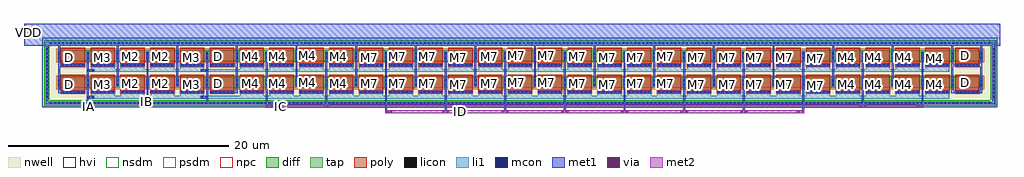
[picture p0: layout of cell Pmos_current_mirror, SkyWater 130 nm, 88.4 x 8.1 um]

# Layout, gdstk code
from math import pi, radians
import gdstk
lib = gdstk.Library(unit=1e-6, precision=1e-09)
def R(c, l, rs):  # rectangles x0, y0, x1, y1
    for r in rs: c.add(gdstk.rectangle(r[:2], r[2:], *l))
def A(c, l, x, y, w, h, nx, ny, dx, dy):  # array of equal rectangles
    R(c, l, [(x+i*dx, y+j*dy, x+i*dx+w, y+j*dy+h) for i in range(nx) for j in range(ny)])
def P(c, l, *ps):  # polygons
    for p in ps: c.add(gdstk.Polygon(p, *l))
nwell = (64, 20)
diff = (65, 20)
tap = (65, 44)
poly = (66, 20)
licon = (66, 44)
li1 = (67, 20)
mcon = (67, 44)
met1 = (68, 20)
via = (68, 44)
met2 = (69, 20)
hvi = (75, 20)
nsdm = (93, 44)
psdm = (94, 20)
npc = (95, 20)

vias_gen = lib.new_cell('vias_gen')
R(vias_gen, li1, [(0,0,0.66,0.26)])
R(vias_gen, mcon, [(0.065,0.045,0.235,0.215), (0.425,0.045,0.595,0.215)])
R(vias_gen, met1, [(0,0,0.66,0.26)])

pfet = lib.new_cell('pfet')
R(pfet, nwell, [(-0.465,-0.88,84.265,1.54)])
R(pfet, diff, [(0,0,83.8,1)])
A(pfet, poly, 0.3, -0.53, 2.2, 0.33, 31, 1, 2.7, 0)
A(pfet, poly, 0.3, -0.2, 2.2, 1.4, 31, 1, 2.7, 0)
A(pfet, licon, 0.415, -0.45, 0.17, 0.17, 6, 1, 0.36, 0)
A(pfet, licon, 3.115, -0.45, 0.17, 0.17, 6, 1, 0.36, 0)
A(pfet, licon, 5.815, -0.45, 0.17, 0.17, 6, 1, 0.36, 0)
A(pfet, licon, 8.515, -0.45, 0.17, 0.17, 6, 1, 0.36, 0)
A(pfet, licon, 11.215, -0.45, 0.17, 0.17, 6, 1, 0.36, 0)
A(pfet, licon, 13.915, -0.45, 0.17, 0.17, 6, 1, 0.36, 0)
A(pfet, licon, 16.615, -0.45, 0.17, 0.17, 6, 1, 0.36, 0)
A(pfet, licon, 19.315, -0.45, 0.17, 0.17, 6, 1, 0.36, 0)
A(pfet, licon, 22.015, -0.45, 0.17, 0.17, 6, 1, 0.36, 0)
A(pfet, licon, 24.715, -0.45, 0.17, 0.17, 6, 1, 0.36, 0)
A(pfet, licon, 27.415, -0.45, 0.17, 0.17, 6, 1, 0.36, 0)
A(pfet, licon, 30.115, -0.45, 0.17, 0.17, 6, 1, 0.36, 0)
A(pfet, licon, 32.815, -0.45, 0.17, 0.17, 6, 1, 0.36, 0)
A(pfet, licon, 35.515, -0.45, 0.17, 0.17, 6, 1, 0.36, 0)
A(pfet, licon, 38.215, -0.45, 0.17, 0.17, 6, 1, 0.36, 0)
A(pfet, licon, 40.915, -0.45, 0.17, 0.17, 6, 1, 0.36, 0)
A(pfet, licon, 43.615, -0.45, 0.17, 0.17, 6, 1, 0.36, 0)
A(pfet, licon, 46.315, -0.45, 0.17, 0.17, 6, 1, 0.36, 0)
A(pfet, licon, 49.015, -0.45, 0.17, 0.17, 6, 1, 0.36, 0)
A(pfet, licon, 51.715, -0.45, 0.17, 0.17, 6, 1, 0.36, 0)
A(pfet, licon, 54.415, -0.45, 0.17, 0.17, 6, 1, 0.36, 0)
A(pfet, licon, 57.115, -0.45, 0.17, 0.17, 6, 1, 0.36, 0)
A(pfet, licon, 59.815, -0.45, 0.17, 0.17, 6, 1, 0.36, 0)
A(pfet, licon, 62.515, -0.45, 0.17, 0.17, 6, 1, 0.36, 0)
A(pfet, licon, 65.215, -0.45, 0.17, 0.17, 6, 1, 0.36, 0)
A(pfet, licon, 67.915, -0.45, 0.17, 0.17, 6, 1, 0.36, 0)
A(pfet, licon, 70.615, -0.45, 0.17, 0.17, 6, 1, 0.36, 0)
A(pfet, licon, 73.315, -0.45, 0.17, 0.17, 6, 1, 0.36, 0)
A(pfet, licon, 76.015, -0.45, 0.17, 0.17, 6, 1, 0.36, 0)
A(pfet, licon, 78.715, -0.45, 0.17, 0.17, 6, 1, 0.36, 0)
A(pfet, licon, 81.415, -0.45, 0.17, 0.17, 6, 1, 0.36, 0)
A(pfet, licon, 2.665, 0.235, 0.17, 0.17, 30, 2, 2.7, 0.36)
R(pfet, licon, [(0.065,0.235,0.235,0.405), (83.565,0.235,83.735,0.405), (0.065,0.595,0.235,0.765), (83.565,0.595,83.735,0.765)])
A(pfet, li1, 0.335, -0.45, 2.13, 0.17, 31, 1, 2.7, 0)
A(pfet, li1, 2.665, 0.155, 0.17, 0.69, 30, 1, 2.7, 0)
R(pfet, li1, [(0.065,0.155,0.235,0.845), (83.565,0.155,83.735,0.845)])
A(pfet, mcon, 0.415, -0.45, 0.17, 0.17, 6, 1, 0.36, 0)
A(pfet, mcon, 3.115, -0.45, 0.17, 0.17, 6, 1, 0.36, 0)
A(pfet, mcon, 5.815, -0.45, 0.17, 0.17, 6, 1, 0.36, 0)
A(pfet, mcon, 8.515, -0.45, 0.17, 0.17, 6, 1, 0.36, 0)
A(pfet, mcon, 11.215, -0.45, 0.17, 0.17, 6, 1, 0.36, 0)
A(pfet, mcon, 13.915, -0.45, 0.17, 0.17, 6, 1, 0.36, 0)
A(pfet, mcon, 16.615, -0.45, 0.17, 0.17, 6, 1, 0.36, 0)
A(pfet, mcon, 19.315, -0.45, 0.17, 0.17, 6, 1, 0.36, 0)
A(pfet, mcon, 22.015, -0.45, 0.17, 0.17, 6, 1, 0.36, 0)
A(pfet, mcon, 24.715, -0.45, 0.17, 0.17, 6, 1, 0.36, 0)
A(pfet, mcon, 27.415, -0.45, 0.17, 0.17, 6, 1, 0.36, 0)
A(pfet, mcon, 30.115, -0.45, 0.17, 0.17, 6, 1, 0.36, 0)
A(pfet, mcon, 32.815, -0.45, 0.17, 0.17, 6, 1, 0.36, 0)
A(pfet, mcon, 35.515, -0.45, 0.17, 0.17, 6, 1, 0.36, 0)
A(pfet, mcon, 38.215, -0.45, 0.17, 0.17, 6, 1, 0.36, 0)
A(pfet, mcon, 40.915, -0.45, 0.17, 0.17, 6, 1, 0.36, 0)
A(pfet, mcon, 43.615, -0.45, 0.17, 0.17, 6, 1, 0.36, 0)
A(pfet, mcon, 46.315, -0.45, 0.17, 0.17, 6, 1, 0.36, 0)
A(pfet, mcon, 49.015, -0.45, 0.17, 0.17, 6, 1, 0.36, 0)
A(pfet, mcon, 51.715, -0.45, 0.17, 0.17, 6, 1, 0.36, 0)
A(pfet, mcon, 54.415, -0.45, 0.17, 0.17, 6, 1, 0.36, 0)
A(pfet, mcon, 57.115, -0.45, 0.17, 0.17, 6, 1, 0.36, 0)
A(pfet, mcon, 59.815, -0.45, 0.17, 0.17, 6, 1, 0.36, 0)
A(pfet, mcon, 62.515, -0.45, 0.17, 0.17, 6, 1, 0.36, 0)
A(pfet, mcon, 65.215, -0.45, 0.17, 0.17, 6, 1, 0.36, 0)
A(pfet, mcon, 67.915, -0.45, 0.17, 0.17, 6, 1, 0.36, 0)
A(pfet, mcon, 70.615, -0.45, 0.17, 0.17, 6, 1, 0.36, 0)
A(pfet, mcon, 73.315, -0.45, 0.17, 0.17, 6, 1, 0.36, 0)
A(pfet, mcon, 76.015, -0.45, 0.17, 0.17, 6, 1, 0.36, 0)
A(pfet, mcon, 78.715, -0.45, 0.17, 0.17, 6, 1, 0.36, 0)
A(pfet, mcon, 81.415, -0.45, 0.17, 0.17, 6, 1, 0.36, 0)
A(pfet, mcon, 2.665, 0.235, 0.17, 0.17, 30, 2, 2.7, 0.36)
R(pfet, mcon, [(0.065,0.235,0.235,0.405), (83.565,0.235,83.735,0.405), (0.065,0.595,0.235,0.765), (83.565,0.595,83.735,0.765)])
A(pfet, met1, 0.355, -0.48, 2.09, 0.23, 31, 1, 2.7, 0)
A(pfet, met1, 2.635, 0.175, 0.23, 0.65, 30, 1, 2.7, 0)
R(pfet, met1, [(0.035,0.175,0.265,0.825), (83.535,0.175,83.765,0.825)])
R(pfet, hvi, [(-0.465,-0.88,84.265,1.54)])
R(pfet, psdm, [(-0.125,-0.125,83.925,1.125)])
A(pfet, npc, 0.29, -0.54, 2.22, 0.35, 31, 1, 2.7, 0)

vias_gen_2 = lib.new_cell('vias_gen$2')
R(vias_gen_2, met1, [(0,0,0.66,0.26)])
R(vias_gen_2, via, [(0.095,0.055,0.245,0.205), (0.415,0.055,0.565,0.205)])
R(vias_gen_2, met2, [(0,0,0.66,0.26)])

guard_ring_gen_1 = lib.new_cell('guard_ring_gen$1')
P(guard_ring_gen_1, tap, [(-0.23,-0.23),(-0.23,5.2),(0,5.2),(0,0),(85.5,0),(85.5,5.2),(-0.23,5.2),(-0.23,5.43),(85.73,5.43),(85.73,-0.23)])
A(guard_ring_gen_1, licon, 0.185, -0.2, 0.17, 0.17, 237, 2, 0.36, 5.43)
A(guard_ring_gen_1, licon, -0.2, 0.355, 0.17, 0.17, 1, 13, 0, 0.36)
A(guard_ring_gen_1, licon, 85.53, 0.355, 0.17, 0.17, 1, 13, 0, 0.36)
P(guard_ring_gen_1, li1, [(-0.23,-0.23),(-0.23,5.2),(0,5.2),(0,0),(85.5,0),(85.5,5.2),(-0.23,5.2),(-0.23,5.43),(85.73,5.43),(85.73,-0.23)])
A(guard_ring_gen_1, mcon, 0.185, -0.2, 0.17, 0.17, 237, 2, 0.36, 5.43)
A(guard_ring_gen_1, mcon, -0.2, 0.355, 0.17, 0.17, 1, 13, 0, 0.36)
A(guard_ring_gen_1, mcon, 85.53, 0.355, 0.17, 0.17, 1, 13, 0, 0.36)
P(guard_ring_gen_1, met1, [(-0.23,-0.23),(-0.23,5.2),(0,5.2),(0,0),(85.5,0),(85.5,5.2),(-0.23,5.2),(-0.23,5.43),(85.73,5.43),(85.73,-0.23)])
P(guard_ring_gen_1, nsdm, [(-0.355,-0.355),(-0.355,5.075),(0.125,5.075),(0.125,0.125),(85.375,0.125),(85.375,5.075),(-0.355,5.075),(-0.355,5.555),(85.855,5.555),(85.855,-0.355)])

pmos_current_mirror = lib.new_cell('Pmos_current_mirror')
R(pmos_current_mirror, nwell, [(-2.005,-4.05,84.465,2.22)])
A(pmos_current_mirror, li1, 2.39, -3.305, 2.13, 0.7, 4, 2, 2.7, 2.435)
A(pmos_current_mirror, li1, 15.89, -3.305, 2.13, 0.7, 24, 2, 2.7, 2.435)
R(pmos_current_mirror, li1, [(2.025,-3.305,79.165,-3.045), (2.025,-0.87,79.165,-0.61)])
A(pmos_current_mirror, met1, 18.22, -3.44, 0.17, 1.35, 5, 1, 10.8, 0)
A(pmos_current_mirror, met1, 23.62, -3.05, 0.17, 1.35, 6, 1, 10.8, 0)
A(pmos_current_mirror, met1, 20.92, 0.275, 0.17, 1.37, 6, 1, 10.8, 0)
A(pmos_current_mirror, met1, 26.32, 0.285, 0.17, 1.37, 5, 1, 10.8, 0)
R(pmos_current_mirror, met1, [(34.42,-4.55,34.59,0.735), (45.22,-4.52,45.39,0.735), (50.62,-4.52,50.79,0.345), (61.42,-4.5,61.59,0.345), (29.02,-4.49,29.19,0.345), (56.02,-4.49,56.19,0.735), (66.82,-4.48,66.99,0.735), (39.82,-4.465,39.99,0.345), (18.22,-4.125,18.39,0.345), (77.62,-4.125,77.79,0.735), (23.62,-4.09,23.79,0.735), (2.02,-4.03,2.19,0.34), (72.22,-4.015,72.39,-2.09), (7.42,-3.66,7.59,0.875), (12.82,-3.615,12.99,0.34), (7.42,-3.44,7.59,-1.56), (72.22,-3.44,72.39,0.345), (2.02,-3.425,2.19,-2.095), (12.82,-3.425,12.99,-2.095), (-0.58,-2.805,-0.29,-2.575), (-0.58,-2.805,-0.41,1.86), (15.3,-2.805,15.69,-2.575), (80.32,-2.805,80.71,-2.575), (82.8,-2.805,83.09,-2.575), (82.92,-2.775,83.09,1.605), (15.52,-2.74,15.69,1.965), (80.32,-2.715,80.49,1.655), (20.92,-2.16,21.09,1.83), (31.72,-2.16,31.89,1.765), (42.52,-2.16,42.69,1.725), (53.32,-2.16,53.49,1.77), (64.12,-2.16,64.29,1.68), (74.92,-2.16,75.09,1.625), (26.32,-2.15,26.49,1.73), (37.12,-2.15,37.29,1.915), (47.92,-2.15,48.09,1.7), (58.72,-2.15,58.89,1.655), (69.52,-2.15,69.69,1.655), (4.72,-2.09,4.89,1.855), (10.12,-2.055,10.29,1.775), (-0.58,-0.37,-0.29,-0.14), (-0.58,-0.37,-0.41,0.34), (15.3,-0.37,15.69,-0.14), (80.32,-0.37,80.71,-0.14), (82.8,-0.37,83.09,-0.14), (82.92,-0.34,83.09,1.595), (15.52,-0.305,15.69,1.745), (80.32,-0.28,80.49,1.655), (4.72,0.345,4.89,1.5), (10.12,0.38,10.29,1.535), (-3.68,1.505,84.72,3.49)])
R(pmos_current_mirror, met2, [(29.25,-4.61,66.925,-4.35), (18.88,-4.125,77.76,-3.865)])
R(pmos_current_mirror, hvi, [(-2.005,-4.05,84.465,2.22)])
pmos_current_mirror.add(gdstk.Reference(vias_gen, (2.02,-0.87)))
pmos_current_mirror.add(gdstk.Reference(vias_gen, (12.99,-0.87), rotation=pi, x_reflection=True))
pmos_current_mirror.add(gdstk.Reference(pfet, (-0.645,0.11)))
pmos_current_mirror.add(gdstk.Reference(vias_gen, (2.02,-3.305)))
pmos_current_mirror.add(gdstk.Reference(vias_gen, (12.99,-3.305), rotation=pi, x_reflection=True))
pmos_current_mirror.add(gdstk.Reference(pfet, (-0.645,-2.325)))
pmos_current_mirror.add(gdstk.Reference(vias_gen_2, (18.22,-4.125)))
pmos_current_mirror.add(gdstk.Reference(vias_gen_2, (23.375,-4.125)))
pmos_current_mirror.add(gdstk.Reference(vias_gen_2, (71.975,-4.125)))
pmos_current_mirror.add(gdstk.Reference(vias_gen_2, (77.13,-4.125)))
pmos_current_mirror.add(gdstk.Reference(vias_gen_2, (66.33,-4.61)))
pmos_current_mirror.add(gdstk.Reference(vias_gen_2, (55.78,-4.61)))
pmos_current_mirror.add(gdstk.Reference(vias_gen_2, (50.375,-4.61)))
pmos_current_mirror.add(gdstk.Reference(vias_gen_2, (44.98,-4.61)))
pmos_current_mirror.add(gdstk.Reference(vias_gen_2, (39.575,-4.61)))
pmos_current_mirror.add(gdstk.Reference(vias_gen_2, (29.02,-4.61)))
pmos_current_mirror.add(gdstk.Reference(vias_gen_2, (61.175,-4.605)))
pmos_current_mirror.add(gdstk.Reference(vias_gen_2, (34.18,-4.61)))
pmos_current_mirror.add(gdstk.Reference(guard_ring_gen_1, (-1.5,-3.57)))
pmos_current_mirror.add(gdstk.Label('M4', (73.29,0.44), layer=68, texttype=25))
pmos_current_mirror.add(gdstk.Label('M4', (76.01,0.47), layer=68, texttype=25))
pmos_current_mirror.add(gdstk.Label('M4', (78.805,0.39), layer=68, texttype=25))
pmos_current_mirror.add(gdstk.Label('D', (81.555,0.595), layer=68, texttype=25))
pmos_current_mirror.add(gdstk.Label('M4', (70.81,-2.02), layer=68, texttype=25))
pmos_current_mirror.add(gdstk.Label('M7', (68.03,-2.06), layer=68, texttype=25))
pmos_current_mirror.add(gdstk.Label('M7', (65.235,-1.98), layer=68, texttype=25))
pmos_current_mirror.add(gdstk.Label('M7', (62.515,-2.01), layer=68, texttype=25))
pmos_current_mirror.add(gdstk.Label('M7', (60.035,-2.035), layer=68, texttype=25))
pmos_current_mirror.add(gdstk.Label('M7', (57.21,-2.01), layer=68, texttype=25))
pmos_current_mirror.add(gdstk.Label('M7', (54.415,-1.93), layer=68, texttype=25))
pmos_current_mirror.add(gdstk.Label('M7', (51.695,-1.96), layer=68, texttype=25))
pmos_current_mirror.add(gdstk.Label('M7', (49.215,-1.985), layer=68, texttype=25))
pmos_current_mirror.add(gdstk.Label('M7', (46.485,-1.905), layer=68, texttype=25))
pmos_current_mirror.add(gdstk.Label('M7', (43.69,-1.825), layer=68, texttype=25))
pmos_current_mirror.add(gdstk.Label('M7', (40.97,-1.855), layer=68, texttype=25))
pmos_current_mirror.add(gdstk.Label('M7', (38.49,-1.88), layer=68, texttype=25))
pmos_current_mirror.add(gdstk.Label('M7', (35.635,-1.98), layer=68, texttype=25))
pmos_current_mirror.add(gdstk.Label('M7', (32.84,-1.9), layer=68, texttype=25))
pmos_current_mirror.add(gdstk.Label('M7', (30.12,-1.93), layer=68, texttype=25))
pmos_current_mirror.add(gdstk.Label('M7', (27.64,-1.955), layer=68, texttype=25))
pmos_current_mirror.add(gdstk.Label('M4', (24.805,-1.925), layer=68, texttype=25))
pmos_current_mirror.add(gdstk.Label('M4', (22.01,-1.845), layer=68, texttype=25))
pmos_current_mirror.add(gdstk.Label('M4', (19.29,-1.875), layer=68, texttype=25))
pmos_current_mirror.add(gdstk.Label('M4', (16.81,-1.9), layer=68, texttype=25))
pmos_current_mirror.add(gdstk.Label('D', (13.98,-1.905), layer=68, texttype=25))
pmos_current_mirror.add(gdstk.Label('M3', (11.465,-1.99), layer=68, texttype=25))
pmos_current_mirror.add(gdstk.Label('M2', (8.67,-1.91), layer=68, texttype=25))
pmos_current_mirror.add(gdstk.Label('M2', (5.95,-1.94), layer=68, texttype=25))
pmos_current_mirror.add(gdstk.Label('M3', (3.47,-1.965), layer=68, texttype=25))
pmos_current_mirror.add(gdstk.Label('D', (0.47,-1.99), layer=68, texttype=25))
pmos_current_mirror.add(gdstk.Label('M4', (73.29,-1.995), layer=68, texttype=25))
pmos_current_mirror.add(gdstk.Label('M4', (76.01,-1.965), layer=68, texttype=25))
pmos_current_mirror.add(gdstk.Label('M4', (78.805,-2.045), layer=68, texttype=25))
pmos_current_mirror.add(gdstk.Label('D', (81.555,-1.84), layer=68, texttype=25))
pmos_current_mirror.add(gdstk.Label('M4', (70.81,0.415), layer=68, texttype=25))
pmos_current_mirror.add(gdstk.Label('M7', (68.03,0.375), layer=68, texttype=25))
pmos_current_mirror.add(gdstk.Label('M7', (65.235,0.455), layer=68, texttype=25))
pmos_current_mirror.add(gdstk.Label('M7', (62.515,0.425), layer=68, texttype=25))
pmos_current_mirror.add(gdstk.Label('M7', (60.035,0.4), layer=68, texttype=25))
pmos_current_mirror.add(gdstk.Label('M7', (57.21,0.425), layer=68, texttype=25))
pmos_current_mirror.add(gdstk.Label('M7', (54.415,0.505), layer=68, texttype=25))
pmos_current_mirror.add(gdstk.Label('M7', (51.695,0.475), layer=68, texttype=25))
pmos_current_mirror.add(gdstk.Label('M7', (49.215,0.45), layer=68, texttype=25))
pmos_current_mirror.add(gdstk.Label('M7', (46.485,0.53), layer=68, texttype=25))
pmos_current_mirror.add(gdstk.Label('M7', (43.69,0.61), layer=68, texttype=25))
pmos_current_mirror.add(gdstk.Label('M7', (40.97,0.58), layer=68, texttype=25))
pmos_current_mirror.add(gdstk.Label('M7', (38.49,0.555), layer=68, texttype=25))
pmos_current_mirror.add(gdstk.Label('M7', (35.635,0.455), layer=68, texttype=25))
pmos_current_mirror.add(gdstk.Label('M7', (32.84,0.535), layer=68, texttype=25))
pmos_current_mirror.add(gdstk.Label('M7', (30.12,0.505), layer=68, texttype=25))
pmos_current_mirror.add(gdstk.Label('M7', (27.64,0.48), layer=68, texttype=25))
pmos_current_mirror.add(gdstk.Label('M4', (24.805,0.51), layer=68, texttype=25))
pmos_current_mirror.add(gdstk.Label('M4', (22.01,0.59), layer=68, texttype=25))
pmos_current_mirror.add(gdstk.Label('M4', (19.29,0.56), layer=68, texttype=25))
pmos_current_mirror.add(gdstk.Label('M4', (16.81,0.535), layer=68, texttype=25))
pmos_current_mirror.add(gdstk.Label('D', (13.98,0.53), layer=68, texttype=25))
pmos_current_mirror.add(gdstk.Label('M3', (11.465,0.445), layer=68, texttype=25))
pmos_current_mirror.add(gdstk.Label('M2', (8.67,0.525), layer=68, texttype=25))
pmos_current_mirror.add(gdstk.Label('M2', (5.95,0.495), layer=68, texttype=25))
pmos_current_mirror.add(gdstk.Label('M3', (3.47,0.47), layer=68, texttype=25))
pmos_current_mirror.add(gdstk.Label('D', (0.47,0.445), layer=68, texttype=25))
pmos_current_mirror.add(gdstk.Label('IB', (7.455,-3.515), layer=68, texttype=16))
pmos_current_mirror.add(gdstk.Label('IA', (2.14,-3.985), layer=68, texttype=16))
pmos_current_mirror.add(gdstk.Label('VDD', (-3.23,2.7), layer=68, texttype=16))
pmos_current_mirror.add(gdstk.Label('ID', (35.87,-4.475), layer=69, texttype=16))
pmos_current_mirror.add(gdstk.Label('IC', (19.54,-4.025), layer=69, texttype=16))

lib.write_gds('Pmos_current_mirror.gds')
